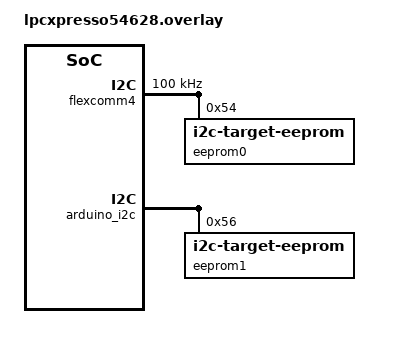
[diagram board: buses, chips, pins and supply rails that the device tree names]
/*
 * Copyright The Zephyr Project Contributors
 *
 * SPDX-License-Identifier: Apache-2.0
 */

/*
 * FlexComm4 as I2C on Arduino D0 (SDA) and D1 (SCL), wired to D14 (SDA) and
 * D15 (SCL) of the Arduino I2C bus, FlexComm2.
 */
&pinctrl {
	pinmux_flexcomm4_i2c: pinmux_flexcomm4_i2c {
		group0 {
			pinmux = <FC4_RXD_SDA_MOSI_PIO3_26>,
				 <FC4_TXD_SCL_MISO_PIO3_27>;
			drive-open-drain;
			slew-rate = "standard";
		};
	};
};

&flexcomm4 {
	compatible = "nxp,lpc-i2c";
	/delete-property/ current-speed;
	clock-frequency = <I2C_BITRATE_STANDARD>;
	#address-cells = <1>;
	#size-cells = <0>;
	pinctrl-0 = <&pinmux_flexcomm4_i2c>;
	status = "okay";

	eeprom0: eeprom@54 {
		compatible = "zephyr,i2c-target-eeprom";
		reg = <0x54>;
		size = <256>;
	};
};

&arduino_i2c {
	eeprom1: eeprom@56 {
		compatible = "zephyr,i2c-target-eeprom";
		reg = <0x56>;
		size = <256>;
	};
};
